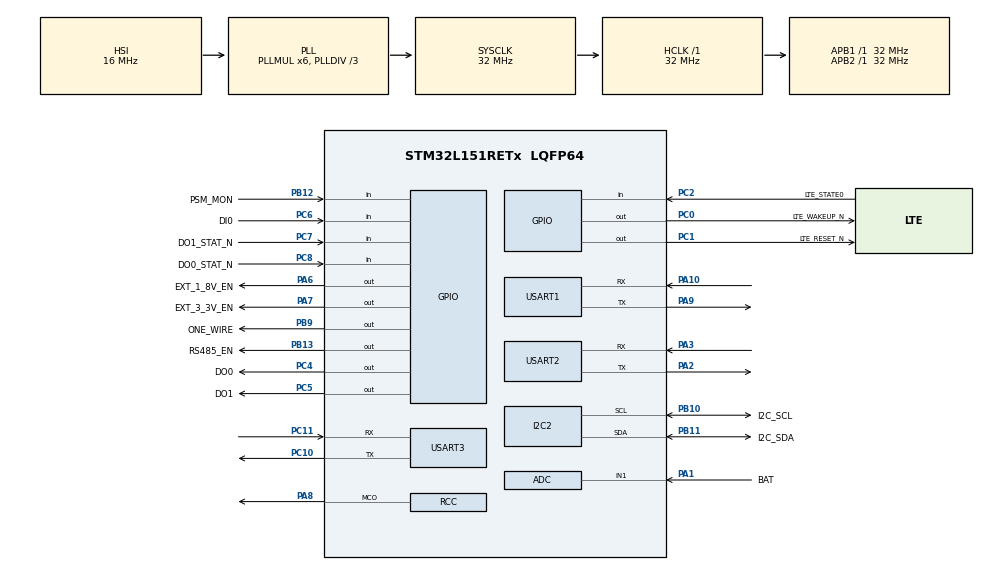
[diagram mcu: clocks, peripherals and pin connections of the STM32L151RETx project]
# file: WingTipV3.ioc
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ADC.Channel-0\#ChannelRegularConversion=ADC_CHANNEL_1
ADC.NbrOfConversionFlag=1
ADC.Rank-0\#ChannelRegularConversion=1
ADC.SamplingTime-0\#ChannelRegularConversion=ADC_SAMPLETIME_4CYCLES
FREERTOS.Tasks01=defaultTask,0,128,StartDefaultTask,Default,NULL
Mcu.Family=STM32L1
Mcu.Name=STM32L151RETx
Mcu.Package=LQFP64
NVIC.PriorityGroup=NVIC_PRIORITYGROUP_4
NVIC.TIM2_IRQn=true\:0\:0\:false\:false\:true\:false\:false
NVIC.TimeBase=TIM2_IRQn
NVIC.TimeBaseIP=TIM2
PA0-WKUP1.Mode=SYS_WakeUp0
PA0-WKUP1.Signal=SYS_WKUP1
PA1.GPIO_Label=BAT
PA1.Mode=IN1
PA1.Signal=ADC_IN1
PA10.Mode=Asynchronous
PA10.Signal=USART1_RX
PA13.Mode=JTAG_5_pins
PA13.Signal=SYS_JTMS-SWDIO
PA14.Mode=JTAG_5_pins
PA14.Signal=SYS_JTCK-SWCLK
PA15.Mode=JTAG_5_pins
PA15.Signal=SYS_JTDI
PA2.Mode=Asynchronous
PA2.Signal=USART2_TX
PA3.Mode=Asynchronous
PA3.Signal=USART2_RX
PA6.GPIO_Label=EXT_1_8V_EN
PA6.Signal=GPIO_Output
PA7.GPIO_Label=EXT_3_3V_EN
PA7.Signal=GPIO_Output
PA8.Mode=Clock-out
PA8.Signal=RCC_MCO
PA9.Mode=Asynchronous
PA9.Signal=USART1_TX
PB10.GPIO_Label=I2C_SCL
PB10.Mode=I2C
PB10.Signal=I2C2_SCL
PB11.GPIO_Label=I2C_SDA
PB11.Mode=I2C
PB11.Signal=I2C2_SDA
PB12.GPIO_Label=PSM_MON
PB12.Signal=GPIO_Input
PB13.GPIO_Label=RS485_EN
PB13.Signal=GPIO_Output
PB3.Mode=JTAG_5_pins
PB3.Signal=SYS_JTDO-TRACESWO
PB4.Mode=JTAG_5_pins
PB4.Signal=SYS_JTRST
PB9.GPIO_Label=ONE_WIRE
PB9.Signal=GPIO_Output
PC0.GPIO_Label=LTE_WAKEUP_N
PC0.Signal=GPIO_Output
PC1.GPIO_Label=LTE_RESET_N
PC1.Signal=GPIO_Output
PC10.Mode=Asynchronous
PC10.Signal=USART3_TX
PC11.Mode=Asynchronous
PC11.Signal=USART3_RX
PC13-WKUP2.GPIO_Label=AP_WAKE
PC13-WKUP2.Mode=SYS_WakeUp1
PC13-WKUP2.Signal=SYS_WKUP2
PC14-OSC32_IN.Mode=LSE-External-Oscillator
PC14-OSC32_IN.Signal=RCC_OSC32_IN
PC15-OSC32_OUT.Mode=LSE-External-Oscillator
PC15-OSC32_OUT.Signal=RCC_OSC32_OUT
PC2.GPIO_Label=LTE_STATE0
PC2.Signal=GPIO_Input
PC4.GPIO_Label=DO0
PC4.Signal=GPIO_Output
PC5.GPIO_Label=DO1
PC5.Signal=GPIO_Output
PC6.GPIO_Label=DI0
PC6.Signal=GPIO_Input
PC7.GPIO_Label=DO1_STAT_N
PC7.Signal=GPIO_Input
PC8.GPIO_Label=DO0_STAT_N
PC8.Signal=GPIO_Input
PH0-OSC_IN.Mode=HSE-External-Oscillator
PH0-OSC_IN.Signal=RCC_OSC_IN
PH1-OSC_OUT.Mode=HSE-External-Oscillator
PH1-OSC_OUT.Signal=RCC_OSC_OUT
ProjectManager.HeapSize=0x200
ProjectManager.StackSize=0x400
ProjectManager.TargetToolchain=EWARM V8
RCC.48MHZClocksFreq_Value=48000000
RCC.AHBFreq_Value=32000000
RCC.APB1Freq_Value=32000000
RCC.APB1TimFreq_Value=32000000
RCC.APB2Freq_Value=32000000
RCC.APB2TimFreq_Value=32000000
RCC.HCLKFreq_Value=32000000
RCC.HSE_VALUE=24000000
RCC.HSI_VALUE=16000000
RCC.MSI_VALUE=2097000
RCC.PLLDIV=RCC_PLL_DIV3
RCC.PLLMUL=RCC_PLL_MUL6
RCC.SYSCLKFreq_VALUE=32000000
RCC.SYSCLKSource=RCC_SYSCLKSOURCE_PLLCLK
RCC.VCOOutputFreq_Value=96000000
RTC.Alarm-Alarm\ A=RTC_ALARM_A
RTC.Alarm_B-Alarm\ B=RTC_ALARM_B
USART1.VirtualMode=VM_ASYNC
USART2.VirtualMode=VM_ASYNC
USART3.VirtualMode=VM_ASYNC
VP_FREERTOS_VS_ENABLE.Mode=Enabled
VP_RTC_VS_RTC_Activate.Mode=RTC_Enabled
VP_RTC_VS_RTC_Alarm_A_Intern.Mode=Alarm A
VP_RTC_VS_RTC_Alarm_B_Intern.Mode=Alarm B
VP_RTC_VS_RTC_Calendar.Mode=RTC_Calendar
VP_RTC_VS_RTC_WakeUp_intern.Mode=WakeUp
VP_SYS_VS_tim2.Mode=TIM2
board=custom

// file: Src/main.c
/**
  ******************************************************************************
  * @file           : main.c
  * @brief          : Main program body
  ******************************************************************************
  * This notice applies to any and all portions of this file
  * that are not between comment pairs USER CODE BEGIN and
  * USER CODE END. Other portions of this file, whether
  * inserted by the user or by software development tools
  * are owned by their respective copyright owners.
  *
  * Copyright (c) 2019 STMicroelectronics International N.V.
  * All rights reserved.
  *
  * Redistribution and use in source and binary forms, with or without
  * modification, are permitted, provided that the following conditions are met:
  *
  * 1. Redistribution of source code must retain the above copyright notice,
  *    this list of conditions and the following disclaimer.
  * 2. Redistributions in binary form must reproduce the above copyright notice,
  *    this list of conditions and the following disclaimer in the documentation
  *    and/or other materials provided with the distribution.
  * 3. Neither the name of STMicroelectronics nor the names of other
  *    contributors to this software may be used to endorse or promote products
  *    derived from this software without specific written permission.
  * 4. This software, including modifications and/or derivative works of this
  *    software, must execute solely and exclusively on microcontroller or
  *    microprocessor devices manufactured by or for STMicroelectronics.
  * 5. Redistribution and use of this software other than as permitted under
  *    this license is void and will automatically terminate your rights under
  *    this license.
  *
  * THIS SOFTWARE IS PROVIDED BY STMICROELECTRONICS AND CONTRIBUTORS "AS IS"
  * AND ANY EXPRESS, IMPLIED OR STATUTORY WARRANTIES, INCLUDING, BUT NOT
  * LIMITED TO, THE IMPLIED WARRANTIES OF MERCHANTABILITY, FITNESS FOR A
  * PARTICULAR PURPOSE AND NON-INFRINGEMENT OF THIRD PARTY INTELLECTUAL PROPERTY
  * RIGHTS ARE DISCLAIMED TO THE FULLEST EXTENT PERMITTED BY LAW. IN NO EVENT
  * SHALL STMICROELECTRONICS OR CONTRIBUTORS BE LIABLE FOR ANY DIRECT, INDIRECT,
  * INCIDENTAL, SPECIAL, EXEMPLARY, OR CONSEQUENTIAL DAMAGES (INCLUDING, BUT NOT
  * LIMITED TO, PROCUREMENT OF SUBSTITUTE GOODS OR SERVICES; LOSS OF USE, DATA,
  * OR PROFITS; OR BUSINESS INTERRUPTION) HOWEVER CAUSED AND ON ANY THEORY OF
  * LIABILITY, WHETHER IN CONTRACT, STRICT LIABILITY, OR TORT (INCLUDING
  * NEGLIGENCE OR OTHERWISE) ARISING IN ANY WAY OUT OF THE USE OF THIS SOFTWARE,
  * EVEN IF ADVISED OF THE POSSIBILITY OF SUCH DAMAGE.
  *
  ******************************************************************************
  */
#include "main.h"
#include "stm32l1xx_hal.h"
#include "cmsis_os.h"

/* USER CODE BEGIN Includes */
#include "config.h"
#include "me_i10kl.h"
#include "trace.h"
#include "client.h"
#include "system.h"
#include "shell/shell_client.h"
#include "shell/shell_command.h"
#include "shell/shell_trace.h"
#include "fi_time.h"
#include "log.h"

#define TRACE(...)  TRACE_printf("SYS", __VA_ARGS__)

/* USER CODE END Includes */

ADC_HandleTypeDef hadc;

I2C_HandleTypeDef hi2c2;

RTC_HandleTypeDef hrtc;

UART_HandleTypeDef huart1;
UART_HandleTypeDef huart2;
UART_HandleTypeDef huart3;

osThreadId defaultTaskHandle;

/* USER CODE BEGIN PV */
/* Private variables ---------------------------------------------------------*/
CONFIG  config_;
bool    configSave_ = false;
/* USER CODE END PV */

void SystemClock_Config(void);
static void MX_GPIO_Init(void);
static void MX_ADC_Init(void);
static void MX_RTC_Init(void);
static void MX_USART1_UART_Init(void);
static void MX_USART2_UART_Init(void);
static void MX_USART3_UART_Init(void);
static void MX_I2C2_Init(void);
void StartDefaultTask(void const * argument);

/* USER CODE BEGIN PFP */
/* Private function prototypes -----------------------------------------------*/
RET_VALUE   GlobalConfigSave(void);

/* USER CODE END PFP */

int main(void)
{

  /* MCU Configuration----------------------------------------------------------*/

  /* Reset of all peripherals, Initializes the Flash interface and the Systick. */
  HAL_Init();

  /* Configure the system clock */
  SystemClock_Config();

  /* Initialize all configured peripherals */
  MX_GPIO_Init();
  MX_ADC_Init();
  MX_RTC_Init();
  MX_USART1_UART_Init();
  MX_USART2_UART_Init();
  MX_USART3_UART_Init();
  MX_I2C2_Init();

  /* Create the thread(s) */
  /* definition and creation of defaultTask */
  osThreadDef(defaultTask, StartDefaultTask, osPriorityNormal, 0, 512);
  defaultTaskHandle = osThreadCreate(osThread(defaultTask), NULL);

  /* Start scheduler */
  osKernelStart();

  /* We should never get here as control is now taken by the scheduler */

  /* Infinite loop */
  while (1)
  {

  }

}

void SystemClock_Config(void)
{

  RCC_OscInitTypeDef RCC_OscInitStruct;
  RCC_ClkInitTypeDef RCC_ClkInitStruct;
  RCC_PeriphCLKInitTypeDef PeriphClkInit;

    /**Configure the main internal regulator output voltage
    */
  __HAL_PWR_VOLTAGESCALING_CONFIG(PWR_REGULATOR_VOLTAGE_SCALE1);

    /**Initializes the CPU, AHB and APB busses clocks
    */
  //RCC_OscInitStruct.OscillatorType = RCC_OSCILLATORTYPE_HSI|RCC_OSCILLATORTYPE_LSI;
  RCC_OscInitStruct.OscillatorType = RCC_OSCILLATORTYPE_HSI|RCC_OSCILLATORTYPE_LSE;
  RCC_OscInitStruct.HSIState = RCC_HSI_ON;
  RCC_OscInitStruct.HSICalibrationValue = 16;
  //RCC_OscInitStruct.LSIState = RCC_LSI_ON;
  RCC_OscInitStruct.LSEState = RCC_LSE_ON;
  RCC_OscInitStruct.PLL.PLLState = RCC_PLL_ON;
  RCC_OscInitStruct.PLL.PLLSource = RCC_PLLSOURCE_HSI;
  RCC_OscInitStruct.PLL.PLLMUL = RCC_PLL_MUL6;
  RCC_OscInitStruct.PLL.PLLDIV = RCC_PLL_DIV3;
  if (HAL_RCC_OscConfig(&RCC_OscInitStruct) != HAL_OK)
  {
    _Error_Handler(__FILE__, __LINE__);
  }

    /**Initializes the CPU, AHB and APB busses clocks
    */
  RCC_ClkInitStruct.ClockType = RCC_CLOCKTYPE_HCLK|RCC_CLOCKTYPE_SYSCLK
                              |RCC_CLOCKTYPE_PCLK1|RCC_CLOCKTYPE_PCLK2;
  RCC_ClkInitStruct.SYSCLKSource = RCC_SYSCLKSOURCE_PLLCLK;
  RCC_ClkInitStruct.AHBCLKDivider = RCC_SYSCLK_DIV1;
  RCC_ClkInitStruct.APB1CLKDivider = RCC_HCLK_DIV1;
  RCC_ClkInitStruct.APB2CLKDivider = RCC_HCLK_DIV1;

  if (HAL_RCC_ClockConfig(&RCC_ClkInitStruct, FLASH_LATENCY_1) != HAL_OK)
  {
    _Error_Handler(__FILE__, __LINE__);
  }

  PeriphClkInit.PeriphClockSelection = RCC_PERIPHCLK_RTC;
  //PeriphClkInit.RTCClockSelection = RCC_RTCCLKSOURCE_LSI;
  PeriphClkInit.RTCClockSelection = RCC_RTCCLKSOURCE_LSE;
  if (HAL_RCCEx_PeriphCLKConfig(&PeriphClkInit) != HAL_OK)
  {
    _Error_Handler(__FILE__, __LINE__);
  }

  HAL_RCC_MCOConfig(RCC_MCO1, RCC_MCO1SOURCE_SYSCLK, RCC_MCODIV_1);

    /**Configure the Systick interrupt time
    */
  HAL_SYSTICK_Config(HAL_RCC_GetHCLKFreq()/1000);

    /**Configure the Systick
    */
  HAL_SYSTICK_CLKSourceConfig(SYSTICK_CLKSOURCE_HCLK);

  /* SysTick_IRQn interrupt configuration */
  HAL_NVIC_SetPriority(SysTick_IRQn, 15, 0);
}

/* ADC init function */
static void MX_ADC_Init(void)
{

  ADC_ChannelConfTypeDef sConfig;

    /**Configure the global features of the ADC (Clock, Resolution, Data Alignment and number of conversion)
    */
  hadc.Instance = ADC1;
  hadc.Init.ClockPrescaler = ADC_CLOCK_ASYNC_DIV1;
  hadc.Init.Resolution = ADC_RESOLUTION_12B;
  hadc.Init.DataAlign = ADC_DATAALIGN_RIGHT;
  hadc.Init.ScanConvMode = ADC_SCAN_DISABLE;
  hadc.Init.EOCSelection = ADC_EOC_SEQ_CONV;
  hadc.Init.LowPowerAutoWait = ADC_AUTOWAIT_DISABLE;
  hadc.Init.LowPowerAutoPowerOff = ADC_AUTOPOWEROFF_DISABLE;
  hadc.Init.ChannelsBank = ADC_CHANNELS_BANK_A;
  hadc.Init.ContinuousConvMode = DISABLE;
  hadc.Init.NbrOfConversion = 1;
  hadc.Init.DiscontinuousConvMode = DISABLE;
  hadc.Init.ExternalTrigConv = ADC_SOFTWARE_START;
  hadc.Init.ExternalTrigConvEdge = ADC_EXTERNALTRIGCONVEDGE_NONE;
  hadc.Init.DMAContinuousRequests = DISABLE;
  if (HAL_ADC_Init(&hadc) != HAL_OK)
  {
    _Error_Handler(__FILE__, __LINE__);
  }

    /**Configure for the selected ADC regular channel its corresponding rank in the sequencer and its sample time.
    */
  sConfig.Channel = ADC_CHANNEL_1;
  sConfig.Rank = ADC_REGULAR_RANK_1;
  sConfig.SamplingTime = ADC_SAMPLETIME_4CYCLES;
  if (HAL_ADC_ConfigChannel(&hadc, &sConfig) != HAL_OK)
  {
    _Error_Handler(__FILE__, __LINE__);
  }

}

/* I2C2 init function */
static void MX_I2C2_Init(void)
{

  hi2c2.Instance = I2C2;
  hi2c2.Init.ClockSpeed = 100000;
  hi2c2.Init.DutyCycle = I2C_DUTYCYCLE_2;
  hi2c2.Init.OwnAddress1 = 0;
  hi2c2.Init.AddressingMode = I2C_ADDRESSINGMODE_7BIT;
  hi2c2.Init.DualAddressMode = I2C_DUALADDRESS_DISABLE;
  hi2c2.Init.OwnAddress2 = 0;
  hi2c2.Init.GeneralCallMode = I2C_GENERALCALL_DISABLE;
  hi2c2.Init.NoStretchMode = I2C_NOSTRETCH_DISABLE;
  if (HAL_I2C_Init(&hi2c2) != HAL_OK)
  {
    _Error_Handler(__FILE__, __LINE__);
  }

}

/* RTC init function */
static void MX_RTC_Init(void)
{

  RTC_TimeTypeDef sTime;
  RTC_DateTypeDef sDate;
  RTC_AlarmTypeDef sAlarm;

    /**Initialize RTC Only
    */
  hrtc.Instance = RTC;
  hrtc.Init.HourFormat = RTC_HOURFORMAT_24;
  hrtc.Init.AsynchPrediv = 127;
  hrtc.Init.SynchPrediv = 255;
  hrtc.Init.OutPut = RTC_OUTPUT_DISABLE;
  hrtc.Init.OutPutPolarity = RTC_OUTPUT_POLARITY_HIGH;
  hrtc.Init.OutPutType = RTC_OUTPUT_TYPE_OPENDRAIN;
  if (HAL_RTC_Init(&hrtc) != HAL_OK)
  {
    _Error_Handler(__FILE__, __LINE__);
  }

    /**Initialize RTC and set the Time and Date
    */
  sTime.Hours = 0x0;
  sTime.Minutes = 0x0;
  sTime.Seconds = 0x0;
  sTime.DayLightSaving = RTC_DAYLIGHTSAVING_NONE;
  sTime.StoreOperation = RTC_STOREOPERATION_RESET;
  if (HAL_RTC_SetTime(&hrtc, &sTime, RTC_FORMAT_BCD) != HAL_OK)
  {
    _Error_Handler(__FILE__, __LINE__);
  }

  sDate.WeekDay = RTC_WEEKDAY_MONDAY;
  sDate.Month = RTC_MONTH_JANUARY;
  sDate.Date = 0x1;
  sDate.Year = 0x0;

  if (HAL_RTC_SetDate(&hrtc, &sDate, RTC_FORMAT_BCD) != HAL_OK)
  {
    _Error_Handler(__FILE__, __LINE__);
  }

    /**Enable the Alarm A
    */
  sAlarm.AlarmTime.Hours = 0x0;
  sAlarm.AlarmTime.Minutes = 0x0;
  sAlarm.AlarmTime.Seconds = 0x0;
  sAlarm.AlarmTime.SubSeconds = 0x0;
  sAlarm.AlarmTime.DayLightSaving = RTC_DAYLIGHTSAVING_NONE;
  sAlarm.AlarmTime.StoreOperation = RTC_STOREOPERATION_RESET;
  sAlarm.AlarmMask = RTC_ALARMMASK_NONE;
  sAlarm.AlarmSubSecondMask = RTC_ALARMSUBSECONDMASK_ALL;
  sAlarm.AlarmDateWeekDaySel = RTC_ALARMDATEWEEKDAYSEL_DATE;
  sAlarm.AlarmDateWeekDay = 0x1;
  sAlarm.Alarm = RTC_ALARM_A;
  if (HAL_RTC_SetAlarm(&hrtc, &sAlarm, RTC_FORMAT_BCD) != HAL_OK)
  {
    _Error_Handler(__FILE__, __LINE__);
  }

    /**Enable the Alarm B
    */
  sAlarm.AlarmDateWeekDay = 0x1;
  sAlarm.Alarm = RTC_ALARM_B;

    /**Enable the WakeUp
    */
  if (HAL_RTCEx_SetWakeUpTimer(&hrtc, 0, RTC_WAKEUPCLOCK_RTCCLK_DIV16) != HAL_OK)
  {
    _Error_Handler(__FILE__, __LINE__);
  }

}

/* USART1 init function */
static void MX_USART1_UART_Init(void)
{

  huart1.Instance = USART1;
  huart1.Init.BaudRate = 115200;
  huart1.Init.WordLength = UART_WORDLENGTH_8B;
  huart1.Init.StopBits = UART_STOPBITS_1;
  huart1.Init.Parity = UART_PARITY_NONE;
  huart1.Init.Mode = UART_MODE_TX_RX;
  huart1.Init.HwFlowCtl = UART_HWCONTROL_NONE;
  huart1.Init.OverSampling = UART_OVERSAMPLING_16;
  if (HAL_UART_Init(&huart1) != HAL_OK)
  {
    _Error_Handler(__FILE__, __LINE__);
  }

}

/* USART2 init function */
static void MX_USART2_UART_Init(void)
{

  huart2.Instance = USART2;
  huart2.Init.BaudRate = 115200;
  huart2.Init.WordLength = UART_WORDLENGTH_8B;
  huart2.Init.StopBits = UART_STOPBITS_1;
  huart2.Init.Parity = UART_PARITY_NONE;
  huart2.Init.Mode = UART_MODE_TX_RX;
  huart2.Init.HwFlowCtl = UART_HWCONTROL_NONE;
  huart2.Init.OverSampling = UART_OVERSAMPLING_16;
  if (HAL_UART_Init(&huart2) != HAL_OK)
  {
    _Error_Handler(__FILE__, __LINE__);
  }

}

/* USART3 init function */
static void MX_USART3_UART_Init(void)
{

  huart3.Instance = USART3;
  huart3.Init.BaudRate = 115200;
  huart3.Init.WordLength = UART_WORDLENGTH_8B;
  huart3.Init.StopBits = UART_STOPBITS_1;
  huart3.Init.Parity = UART_PARITY_NONE;
  huart3.Init.Mode = UART_MODE_TX_RX;
  huart3.Init.HwFlowCtl = UART_HWCONTROL_NONE;
  huart3.Init.OverSampling = UART_OVERSAMPLING_16;
  if (HAL_UART_Init(&huart3) != HAL_OK)
  {
    _Error_Handler(__FILE__, __LINE__);
  }

}

/** Configure pins as
        * Analog
        * Input
        * Output
        * EVENT_OUT
        * EXTI
     PA8   ------> RCC_MCO
*/
static void MX_GPIO_Init(void)
{

  GPIO_InitTypeDef GPIO_InitStruct;

  /* GPIO Ports Clock Enable */
  __HAL_RCC_GPIOC_CLK_ENABLE();
  __HAL_RCC_GPIOH_CLK_ENABLE();
  __HAL_RCC_GPIOA_CLK_ENABLE();
  __HAL_RCC_GPIOB_CLK_ENABLE();

  /*Configure GPIO pin Output Level */
  HAL_GPIO_WritePin(GPIOC, LTE_WAKEUP_N_Pin|LTE_RESET_N_Pin|DO0_Pin|DO1_Pin, GPIO_PIN_RESET);

  /*Configure GPIO pin Output Level */
  HAL_GPIO_WritePin(GPIOA, EXT_1_8V_EN_Pin|EXT_3_3V_EN_Pin, GPIO_PIN_RESET);

  /*Configure GPIO pin Output Level */
  HAL_GPIO_WritePin(GPIOB, RS485_EN_Pin|ONE_WIRE_Pin, GPIO_PIN_RESET);

  /*Configure GPIO pins : LTE_WAKEUP_N_Pin LTE_RESET_N_Pin DO0_Pin DO1_Pin */
  GPIO_InitStruct.Pin = LTE_WAKEUP_N_Pin|LTE_RESET_N_Pin|DO0_Pin|DO1_Pin;
  GPIO_InitStruct.Mode = GPIO_MODE_OUTPUT_PP;
  GPIO_InitStruct.Pull = GPIO_NOPULL;
  GPIO_InitStruct.Speed = GPIO_SPEED_FREQ_LOW;
  HAL_GPIO_Init(GPIOC, &GPIO_InitStruct);

  /*Configure GPIO pins : LTE_STATE0_Pin DI0_Pin DO1_STAT_N_Pin DO0_STAT_N_Pin */
  GPIO_InitStruct.Pin = LTE_STATE0_Pin|DI0_Pin|DO1_STAT_N_Pin|DO0_STAT_N_Pin;
  GPIO_InitStruct.Mode = GPIO_MODE_INPUT;
  GPIO_InitStruct.Pull = GPIO_NOPULL;
  HAL_GPIO_Init(GPIOC, &GPIO_InitStruct);

  /*Configure GPIO pins : EXT_1_8V_EN_Pin EXT_3_3V_EN_Pin */
  GPIO_InitStruct.Pin = EXT_1_8V_EN_Pin|EXT_3_3V_EN_Pin;
  GPIO_InitStruct.Mode = GPIO_MODE_OUTPUT_PP;
  GPIO_InitStruct.Pull = GPIO_NOPULL;
  GPIO_InitStruct.Speed = GPIO_SPEED_FREQ_LOW;
  HAL_GPIO_Init(GPIOA, &GPIO_InitStruct);

  /*Configure GPIO pin : PSM_MON_Pin */
  GPIO_InitStruct.Pin = PSM_MON_Pin;
  GPIO_InitStruct.Mode = GPIO_MODE_INPUT;
  GPIO_InitStruct.Pull = GPIO_NOPULL;
  HAL_GPIO_Init(PSM_MON_GPIO_Port, &GPIO_InitStruct);

  /*Configure GPIO pins : RS485_EN_Pin ONE_WIRE_Pin */
  GPIO_InitStruct.Pin = RS485_EN_Pin|ONE_WIRE_Pin;
  GPIO_InitStruct.Mode = GPIO_MODE_OUTPUT_PP;
  GPIO_InitStruct.Pull = GPIO_NOPULL;
  GPIO_InitStruct.Speed = GPIO_SPEED_FREQ_LOW;
  HAL_GPIO_Init(GPIOB, &GPIO_InitStruct);

  /*Configure GPIO pin : PA8 */
  GPIO_InitStruct.Pin = GPIO_PIN_8;
  GPIO_InitStruct.Mode = GPIO_MODE_AF_PP;
  GPIO_InitStruct.Pull = GPIO_NOPULL;
  GPIO_InitStruct.Speed = GPIO_SPEED_FREQ_LOW;
  GPIO_InitStruct.Alternate = GPIO_AF0_MCO;
  HAL_GPIO_Init(GPIOA, &GPIO_InitStruct);

}

/* USER CODE BEGIN 4 */
RET_VALUE   GlobalConfigSave(void)
{
    RET_VALUE   ret = RET_OK;

    CONFIG* config = pvPortMalloc(sizeof(CONFIG));
    if (config == NULL)
    {
        return  RET_NOT_ENOUGH_MEMORY;
    }

    memcpy(config, &config_, sizeof(CONFIG));
    ret = SYSTEM_getConfig(&config->system);
    if (ret != RET_OK)
    {
        vPortFree(config);
        SHELL_printf("Can't get system settings!\n");
        return  ret;
    }

    ret = CLIENT_getConfig(&config->client);
    if (ret != RET_OK)
    {
        vPortFree(config);
        SHELL_printf("Can't get client settings!\n");
        return  ret;
    }

    ret = DEVICE_getConfig(&config->device);
    if (ret != RET_OK)
    {
        vPortFree(config);
        SHELL_printf("Can't get device settings!\n");
        return  ret;
    }

    ret = SHELL_getConfig(&config->shell);
    if (ret != RET_OK)
    {
        vPortFree(config);
        SHELL_printf("Can't get shell settings!\n");
        return  ret;
    }

    ret = ME_I10KL_getConfig(&config->me_i10kl);
    if (ret != RET_OK)
    {
        vPortFree(config);
        SHELL_printf("Can't get ME I10KL settings!\n");
        return  ret;
    }

    ret = LOG_getConfig(&config->log);
    if (ret != RET_OK)
    {
        vPortFree(config);
        SHELL_printf("Can't get LOG settings!\n");
        return  ret;
    }

    ret = TRACE_getConfig(&config->trace);
    if (ret != RET_OK)
    {
        vPortFree(config);
        SHELL_printf("Can't get TRACE settings!\n");
        return  ret;
    }

    ret = CONFIG_save(config);
    if (ret != RET_OK)
    {
        vPortFree(config);
        SHELL_printf("Failed to save settings!\n");
        return  ret;
    }

    memcpy(&config_, config, sizeof(CONFIG));
    vPortFree(config);

    return  ret;
}

/* USER CODE END 4 */

void StartDefaultTask(void const * argument)
{

  /* USER CODE BEGIN 5 */
    FI_TIME_init();
    CONFIG_init();

    if (CONFIG_load(&config_) != RET_OK)
    {
        CONFIG_loadDefault(&config_);
        while(CONFIG_clear() != RET_OK)
        {
        }
        CONFIG_save(&config_);
        LOG_clear();
    }

    SYSTEM_init(&config_.system);
    LOG_init(&config_.log);
    SHELL_init(&config_.shell);
    ME_I10KL_init(&config_.me_i10kl);
    DEVICE_init(&config_.device);

    SHELL_start();
    ME_I10KL_start();

    TRACE_init(&config_.trace);
    CLIENT_init(&config_.client);

  /* Infinite loop */
    for(;;)
    {
//        HAL_IWDG_Refresh(&hiwdg);
        if (SYSTEM_getActivation())
        {
            CLIENT_loop();

            if (configSave_)
            {
                GlobalConfigSave();
                configSave_ = false;
            }
        }

        osDelay(1);
  }
  /* USER CODE END 5 */
}

void HAL_TIM_PeriodElapsedCallback(TIM_HandleTypeDef *htim)
{
  if (htim->Instance == TIM2) {
    HAL_IncTick();
  }
}

void _Error_Handler(char *file, int line)
{
  while(1)
  {
  }
}

/************************ (C) COPYRIGHT STMicroelectronics *****END OF FILE****/
